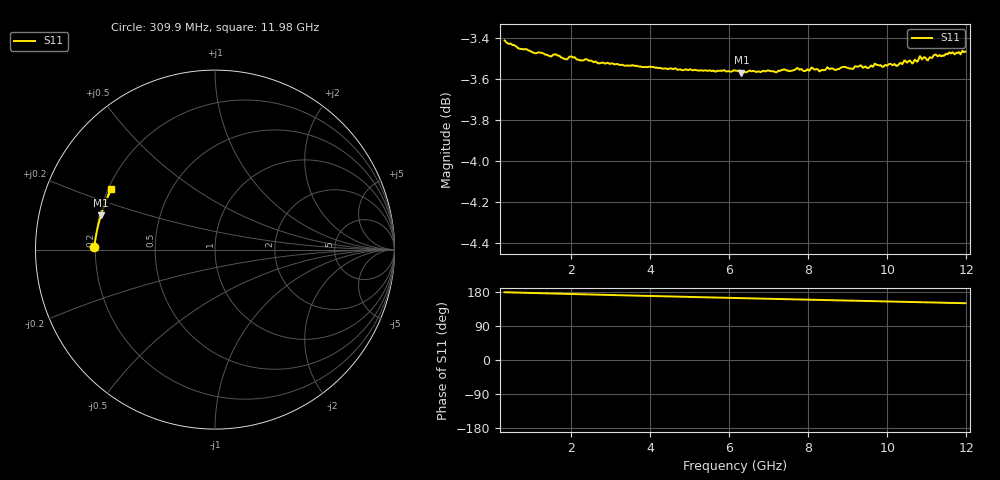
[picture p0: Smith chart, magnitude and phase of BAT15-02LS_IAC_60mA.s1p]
! Infineon Technologies  Discrete & RF Semiconductors
! BAT15-02ELS
! IAC = 60 mA
! One-Port S-Parameters
# Hz  S  MA  R  50
!f  S11
!Hz  Mag  Ang
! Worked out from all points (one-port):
!   468 points, 309.9 MHz to 11.98 GHz, reference 50 ohm
!   lowest |S11| = -3.6 dB at 6.307 GHz (marker M1), VSWR 4.93, Z = 10.3 + j7.04 ohm
!   |S11| at or under -10 dB: nowhere
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3.0985e8  0.675 178.8
1.784112e9  0.6684 174.7
2.033988e9  0.6688 174.1
3.233388e9  0.6658 170.9
4.70765e9  0.6641 167.2
6.156925e9  0.6637 163.7
6.30685e9  0.663 163.3
7.431288e9  0.6639 160.6
7.6062e9  0.6638 160.1
7.831088e9  0.6643 159.7
8.030988e9  0.6638 159.1
8.2059e9  0.6643 158.7
8.4058e9  0.6639 158.2
8.6057e9  0.6645 157.8
8.780612e9  0.6643 157.3
8.930538e9  0.6651 157.1
9.080462e9  0.6645 156.6
9.730138e9  0.6658 155.1
9.980012e9  0.6656 154.4
1.017991e10  0.6662 154.0
1.037981e10  0.6661 153.4
1.052974e10  0.6671 153.2
1.075462e10  0.6671 152.6
1.095452e10  0.6687 152.2
1.112944e10  0.6684 151.7
1.127936e10  0.669 151.5
1.147926e10  0.67 150.9
1.197901e10  0.6708 149.8
